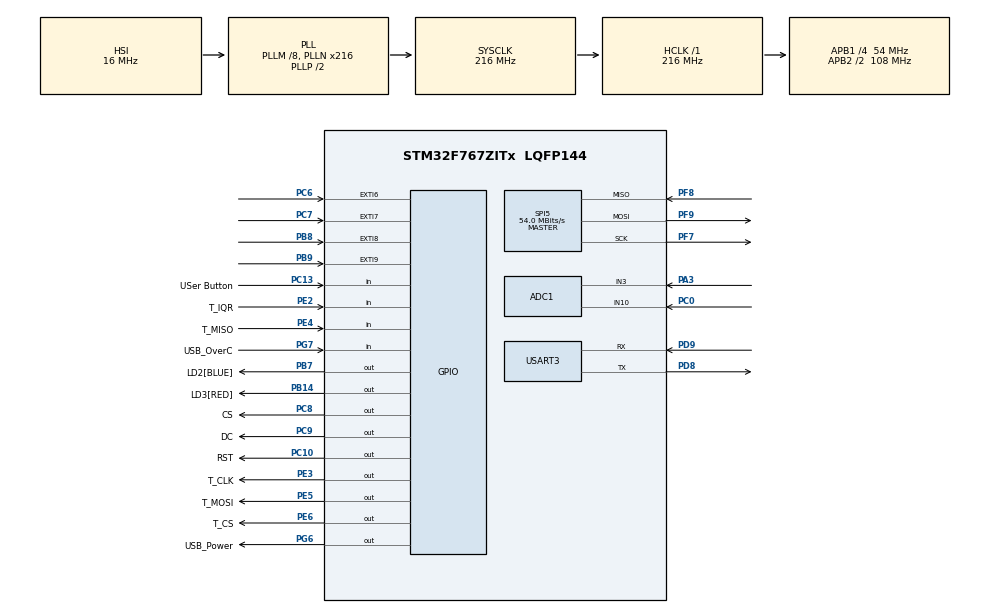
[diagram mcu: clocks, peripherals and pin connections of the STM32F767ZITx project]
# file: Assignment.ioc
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ADC1.Channel-0\#ChannelRegularConversion=ADC_CHANNEL_3
ADC1.Channel-4\#ChannelRegularConversion=ADC_CHANNEL_10
ADC1.ClockPrescaler=ADC_CLOCK_SYNC_PCLK_DIV8
ADC1.ContinuousConvMode=DISABLE
ADC1.NbrOfConversion=2
ADC1.NbrOfConversionFlag=1
ADC1.Rank-4\#ChannelRegularConversion=2
ADC1.SamplingTime-0\#ChannelRegularConversion=ADC_SAMPLETIME_15CYCLES
ADC1.SamplingTime-4\#ChannelRegularConversion=ADC_SAMPLETIME_15CYCLES
ADC1.master=1
CORTEX_M7.ART_ACCELERATOR_ENABLE=1
CORTEX_M7.CPU_DCache=Enabled
CORTEX_M7.CPU_ICache=Enabled
CORTEX_M7.MPU_Control=__NULL
CORTEX_M7.PREFETCH_ENABLE=1
Mcu.Family=STM32F7
Mcu.Name=STM32F767ZITx
Mcu.Package=LQFP144
NVIC.EXTI9_5_IRQn=true\:1\:0\:true\:false\:true\:true\:true\:true
NVIC.PriorityGroup=NVIC_PRIORITYGROUP_1
PA13.Mode=Serial_Wire
PA13.Signal=SYS_JTMS-SWDIO
PA14.Mode=Serial_Wire
PA14.Signal=SYS_JTCK-SWCLK
PA3.Signal=ADCx_IN3
PB14.GPIO_Label=LD3[RED]
PB14.Signal=GPIO_Output
PB7.GPIO_Label=LD2[BLUE]
PB7.Signal=GPIO_Output
PB8.GPIO_ModeDefaultEXTI=GPIO_MODE_IT_FALLING
PB8.Signal=GPXTI8
PB9.GPIO_ModeDefaultEXTI=GPIO_MODE_IT_FALLING
PB9.Signal=GPXTI9
PC0.Signal=ADCx_IN10
PC10.GPIO_Label=RST
PC10.GPIO_Speed=GPIO_SPEED_FREQ_VERY_HIGH
PC10.Signal=GPIO_Output
PC13.GPIO_Label=USer Button
PC13.Signal=GPIO_Input
PC6.GPIO_ModeDefaultEXTI=GPIO_MODE_IT_FALLING
PC6.GPIO_PuPd=GPIO_NOPULL
PC6.Signal=GPXTI6
PC7.GPIO_ModeDefaultEXTI=GPIO_MODE_IT_FALLING
PC7.Signal=GPXTI7
PC8.GPIO_Label=CS
PC8.GPIO_Speed=GPIO_SPEED_FREQ_VERY_HIGH
PC8.Signal=GPIO_Output
PC9.GPIO_Label=DC
PC9.GPIO_Speed=GPIO_SPEED_FREQ_VERY_HIGH
PC9.Signal=GPIO_Output
PD8.Mode=Asynchronous
PD8.Signal=USART3_TX
PD9.Mode=Asynchronous
PD9.Signal=USART3_RX
PE2.GPIO_Label=T_IQR
PE2.Signal=GPIO_Input
PE3.GPIO_Label=T_CLK
PE3.GPIO_Speed=GPIO_SPEED_FREQ_VERY_HIGH
PE3.Signal=GPIO_Output
PE4.GPIO_Label=T_MISO
PE4.Signal=GPIO_Input
PE5.GPIO_Label=T_MOSI
PE5.GPIO_Speed=GPIO_SPEED_FREQ_VERY_HIGH
PE5.Signal=GPIO_Output
PE6.GPIO_Label=T_CS
PE6.GPIO_Speed=GPIO_SPEED_FREQ_VERY_HIGH
PE6.Signal=GPIO_Output
PF7.Mode=Full_Duplex_Master
PF7.Signal=SPI5_SCK
PF8.Mode=Full_Duplex_Master
PF8.Signal=SPI5_MISO
PF9.Mode=Full_Duplex_Master
PF9.Signal=SPI5_MOSI
PG6.GPIO_Label=USB_Power
PG6.Signal=GPIO_Output
PG7.GPIO_Label=USB_OverC
PG7.Signal=GPIO_Input
PH0/OSC_IN.Mode=HSE-External-Oscillator
PH0/OSC_IN.Signal=RCC_OSC_IN
PH1/OSC_OUT.Mode=HSE-External-Oscillator
PH1/OSC_OUT.Signal=RCC_OSC_OUT
ProjectManager.HeapSize=0x200
ProjectManager.StackSize=0x400
ProjectManager.TargetToolchain=STM32CubeIDE
RCC.AHBFreq_Value=216000000
RCC.APB1CLKDivider=RCC_HCLK_DIV4
RCC.APB1Freq_Value=54000000
RCC.APB1TimFreq_Value=108000000
RCC.APB2CLKDivider=RCC_HCLK_DIV2
RCC.APB2Freq_Value=108000000
RCC.APB2TimFreq_Value=216000000
RCC.CortexFreq_Value=216000000
RCC.HCLKFreq_Value=216000000
RCC.HSE_VALUE=25000000
RCC.HSI_VALUE=16000000
RCC.LSE_VALUE=32768
RCC.PLLM=8
RCC.PLLN=216
RCC.PLLQ=9
RCC.SYSCLKFreq_VALUE=216000000
RCC.SYSCLKSource=RCC_SYSCLKSOURCE_PLLCLK
RCC.USBFreq_Value=48000000
RCC.VCOOutputFreq_Value=432000000
SH.ADCx_IN10.0=ADC1_IN10,IN10
SH.ADCx_IN3.0=ADC1_IN3,IN3
SPI5.BaudRatePrescaler=SPI_BAUDRATEPRESCALER_2
SPI5.CalculateBaudRate=54.0 MBits/s
SPI5.DataSize=SPI_DATASIZE_8BIT
SPI5.Direction=SPI_DIRECTION_2LINES
SPI5.Mode=SPI_MODE_MASTER
SPI5.NSSPMode=SPI_NSS_PULSE_DISABLE
SPI5.VirtualType=VM_MASTER
TIM1.ClockDivision=TIM_CLOCKDIVISION_DIV2
TIM1.Period=0
TIM1.Prescaler=10000
USART3.VirtualMode-Asynchronous=VM_ASYNC
VP_RNG_VS_RNG.Mode=RNG_Activate
VP_TIM1_VS_ClockSourceINT.Mode=Internal
board=custom

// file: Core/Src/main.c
/* USER CODE BEGIN Header */
/**
 ******************************************************************************
 * @file           : main.c
 * @brief          : Main program body
 ******************************************************************************
 * @attention
 *
 * Copyright (c) 2023 STMicroelectronics.
 * All rights reserved.
 *
 * This software is licensed under terms that can be found in the LICENSE file
 * in the root directory of this software component.
 * If no LICENSE file comes with this software, it is provided AS-IS.
 *
 ******************************************************************************
 */
/* USER CODE END Header */
#include "main.h"
#include "adc.h"
#include "rng.h"
#include "spi.h"
#include "tim.h"
#include "usart.h"
#include "gpio.h"

/* USER CODE BEGIN Includes */
#include "ILI9341_Touchscreen.h"
#include "ILI9341_STM32_Driver.h"
#include "ILI9341_GFX.h"
#include "ILI9341_Sprite.h"
#include "snow_tiger.h"
#include "string.h"
#include "stdbool.h"
#include "stdio.h"
#include "math.h"
/* USER CODE END Includes */

/* USER CODE BEGIN PD */
#define TILE_NEW_HEIGHT 56
#define TILE_NEW_WIDTH 38
/* USER CODE END PD */

/* USER CODE BEGIN PV */
// array size is 4256
const uint16_t tile_new[] = {
    0xef5d, 0xef5d, 0xef5d, 0xef5d, 0xef5d, 0xef5d, 0xef5d, 0xef5d, 0xef5d, 0xef5d, 0xef5d, 0xef5d, 0xef5d, 0xe75d, 0xe71c, 0xe73c, 0xe71c, 0x9cb2, 0x83ee, 0x8c50, 0x8c4f, 0x8c2f, 0x8c50, 0x9c91, 0xce59, 0xe75d, 0xef5d, 0xef5d, 0xef5d, 0xef5d, 0xef5d, 0xef5d, 0xef5d, 0xef5d, 0xef5d, 0xef5d, 0xef5d, 0xef5d,
    0xef5d, 0xef5d, 0xef5d, 0xef5d, 0xef5d, 0xef5d, 0xef5d, 0xef5d, 0xef5d, 0xef5d, 0xe75d, 0xe75d, 0xe73d, 0xce79, 0x9471, 0xacf3, 0xbd95, 0xa4d2, 0xacd1, 0xad11, 0xad11, 0xb532, 0xbdb6, 0xbdd6, 0xad34, 0xd69a, 0xef5d, 0xef5d, 0xef5d, 0xef5d, 0xef5d, 0xef5d, 0xef5d, 0xef5d, 0xef5d, 0xef5d, 0xef5d, 0xef5d,
    0xef5d, 0xef5d, 0xef5d, 0xef5d, 0xef5d, 0xef5d, 0xef5d, 0xef5d, 0xef5d, 0xef5d, 0xa514, 0x8c30, 0x8c10, 0x8c10, 0x942f, 0xad10, 0xbd31, 0xbd52, 0xbd72, 0xc591, 0xbd91, 0xc592, 0xc5d4, 0xc5b4, 0x9450, 0xce38, 0xef5d, 0xef5d, 0xef5d, 0xef5d, 0xef5d, 0xef5d, 0xef5d, 0xe75d, 0xe75d, 0xe75d, 0xef5d, 0xef5d,
    0xef5d, 0xef5d, 0xef5d, 0xef5d, 0xef5d, 0xef5d, 0xef5d, 0xef5d, 0xbdf7, 0xbd96, 0x630c, 0x4a28, 0x5a48, 0x8bcd, 0xad11, 0xbd71, 0xacef, 0xb530, 0xc5d4, 0xce16, 0xc5d4, 0xc592, 0xc591, 0xbd51, 0x8c0e, 0xc618, 0xef5d, 0xdedb, 0xad55, 0xad54, 0xbd95, 0xbd95, 0xbdb5, 0xbdb5, 0xce58, 0xe73d, 0xef5d, 0xef5d,
    0xef5d, 0xef5d, 0xef5d, 0xef5d, 0xef5d, 0xe71c, 0xd69a, 0xce58, 0x9cb1, 0x9cb2, 0x7bae, 0x5289, 0x4a06, 0x9c6e, 0xbd51, 0xbd71, 0x83ac, 0xa48e, 0xcdf5, 0xce38, 0xce16, 0xc592, 0xc591, 0xb531, 0x736b, 0xa4f3, 0xce38, 0xbdb5, 0x8bee, 0x940e, 0xa48e, 0xa4d1, 0xad12, 0xa4b0, 0xbd94, 0xe73d, 0xef5d, 0xef5d,
    0xef5d, 0xef5d, 0xef5d, 0xef5d, 0xdefb, 0xbdd6, 0xad13, 0x9c90, 0xad12, 0xc5d5, 0xce79, 0x8c51, 0x39a4, 0x8bec, 0xacef, 0xaccf, 0x5227, 0x8bec, 0xbd71, 0xc5d4, 0xc5f6, 0xb510, 0xb510, 0xa4af, 0x4a06, 0x62a9, 0x942e, 0xa48f, 0xacf0, 0xbd71, 0xc591, 0xce16, 0xce59, 0xb533, 0xbd95, 0xe75d, 0xef5d, 0xef5d,
    0xef5d, 0xef5d, 0xef5d, 0xdefc, 0xbdd6, 0x9470, 0xad32, 0xbd51, 0xbd71, 0xbd52, 0xce16, 0x8c50, 0x2944, 0x6ac9, 0x8bcc, 0x8bcc, 0x5207, 0x838b, 0xaccf, 0xad11, 0xa4f2, 0x8bec, 0x8bec, 0x838b, 0x3984, 0x6ae9, 0xaccf, 0xbd71, 0xbd71, 0xbd91, 0xc591, 0xc592, 0xbdd5, 0x9cb1, 0xb554, 0xe75d, 0xef5d, 0xef5d,
    0xef5d, 0xef5d, 0xef5d, 0xa514, 0x8c30, 0xbd53, 0xc572, 0xc591, 0xbd51, 0xa48e, 0xb510, 0x7bac, 0x20e3, 0x4185, 0x5a48, 0x5a88, 0x5a68, 0x41a6, 0x3944, 0x3144, 0x49a6, 0x6268, 0x6288, 0x5a48, 0x2923, 0x6ae9, 0xacf0, 0xbd71, 0xbd71, 0xc591, 0xc591, 0xbd51, 0x838b, 0x3985, 0x736d, 0xe73d, 0xef5d, 0xef5d,
    0xef5d, 0xe75d, 0xe71c, 0x9cb2, 0x8c0e, 0xbd72, 0xbd71, 0xbd71, 0x8bec, 0x5247, 0x3164, 0x2943, 0x18e2, 0x2103, 0x2923, 0x2123, 0x4a07, 0x6ae9, 0x942d, 0x9c6e, 0xa48f, 0xacd0, 0xacf0, 0x8bcc, 0x62c9, 0x41c6, 0x39a5, 0x41e6, 0x7b2a, 0x8bec, 0x940d, 0x8bcc, 0x4a06, 0x8b04, 0xcd4e, 0xe73d, 0xe75d, 0xef5d,
    0xef5d, 0xe73c, 0xb596, 0xa4d2, 0xad12, 0xc571, 0xbd51, 0xa48e, 0x5247, 0x2943, 0x2123, 0x2964, 0x39e4, 0x5307, 0x52e7, 0x2963, 0x2944, 0x39a4, 0x4a26, 0x5247, 0x62c9, 0x83ac, 0x9c6e, 0xacf0, 0xa48f, 0x8c0d, 0x734a, 0x5a88, 0x3184, 0x41c5, 0x5227, 0x5207, 0x2923, 0x49c3, 0x944e, 0xe73d, 0xe75d, 0xef5d,
    0xe75d, 0xe71c, 0x9c92, 0xa4b1, 0xc592, 0xc591, 0xb530, 0x940d, 0x2923, 0x2943, 0x5b08, 0x73e9, 0x94ee, 0xbdf5, 0xb5d4, 0x6368, 0x2963, 0x5227, 0x8bed, 0x944e, 0x6b0a, 0x2943, 0x3184, 0x41e5, 0x41e5, 0x6ac9, 0x83ac, 0x940d, 0x944e, 0x944e, 0x9c4e, 0x5a68, 0x2924, 0x2103, 0x6b8d, 0xe73d, 0xe75d, 0xe75d,
    0xe73c, 0xc638, 0xa4f2, 0xb553, 0xc5d5, 0xc5d5, 0xb553, 0x62c9, 0x2943, 0x31c4, 0x7409, 0x952e, 0xbe14, 0xd69a, 0xce79, 0x94cf, 0x4206, 0x4a26, 0x7b8b, 0x83cc, 0x732a, 0x4a06, 0x5267, 0x5287, 0x5287, 0x4a06, 0x5a68, 0x6b09, 0x8bed, 0x9c4e, 0xacef, 0x83cc, 0x6b2b, 0x630b, 0x94b3, 0xdf1d, 0xe73d, 0xe75d,
    0xdefb, 0x8c30, 0xa4d1, 0xc5d5, 0xce37, 0xce58, 0xb595, 0x2123, 0x4225, 0x5b07, 0x94ec, 0xadb0, 0xc637, 0xd679, 0xce79, 0xbdf4, 0x636a, 0x31a4, 0x18c2, 0x20c2, 0x5207, 0x838c, 0x9c4e, 0x9c6e, 0x9c6e, 0x62a8, 0x4a47, 0x5288, 0x5269, 0x49e6, 0x62c8, 0x944e, 0xbd94, 0xce37, 0xce7a, 0xcefd, 0xe73d, 0xe75d,
    0xdefb, 0x7bae, 0x8c0e, 0xb531, 0xbd72, 0xc5b4, 0xb573, 0x39c5, 0x52a6, 0x6368, 0x848b, 0x94ec, 0xa56f, 0xbdf5, 0xbdf5, 0x8ccc, 0x73c9, 0x4a66, 0x2102, 0x20c2, 0x41a6, 0x5a68, 0x5a68, 0x5a48, 0x5a48, 0x734b, 0x9c6f, 0xacf2, 0x8c50, 0x4a48, 0x18c2, 0x5a68, 0x942e, 0xacf0, 0xb595, 0xcedd, 0xe73d, 0xe75d,
    0xdefb, 0x8c50, 0xbdb6, 0xc5d5, 0xb530, 0xb531, 0x9caf, 0x39c5, 0x39e5, 0x52a6, 0x6347, 0x6ba8, 0x846a, 0x846b, 0x846b, 0x6347, 0x4245, 0x39c5, 0x18e2, 0x20c2, 0x49a6, 0x5a68, 0x4a08, 0x4a28, 0x4a28, 0x62ec, 0x6b2d, 0x6b0c, 0x83ee, 0xad54, 0x18c2, 0x5247, 0x7b8b, 0x7b2b, 0x8c51, 0xc6dd, 0xe73d, 0xe75d,
    0xe73d, 0xe71c, 0xbdd7, 0x5aaa, 0x2102, 0x18e2, 0x2102, 0x39c5, 0x52e7, 0x6ba8, 0x950c, 0x9d6c, 0x9d6c, 0x9d6d, 0x9d4c, 0x9d2c, 0x7c2a, 0x4a86, 0x2103, 0x20e3, 0x41a6, 0x5248, 0x41e7, 0x83f0, 0x8410, 0xb596, 0x736e, 0x4a07, 0x6b0a, 0x7b8c, 0x18c2, 0x5228, 0x6289, 0x5228, 0x73b0, 0xb65c, 0xc69c, 0xdf1d,
    0xe73d, 0xe71c, 0xb596, 0x8c71, 0x736c, 0x4a06, 0x4a07, 0x5248, 0x4206, 0x52c6, 0x740a, 0x846a, 0x848a, 0x848a, 0x846a, 0x6388, 0x4aa6, 0x3184, 0x3185, 0x39a6, 0x49e7, 0x41e7, 0x2123, 0x7baf, 0x83d0, 0x9452, 0x5269, 0x3986, 0x6b0c, 0x6b2c, 0x39a6, 0x62ab, 0x62ec, 0x6b2d, 0x83f0, 0x9cf4, 0xa536, 0xcedc,
    0xe73d, 0xe73c, 0xd6ba, 0xb575, 0x840f, 0x6288, 0x6289, 0x6289, 0x3965, 0x39c5, 0x4246, 0x52c6, 0x6347, 0x6347, 0x6347, 0x3a05, 0x39c5, 0x39a5, 0x41e7, 0x4a29, 0x5aab, 0x5249, 0x18c2, 0x31a6, 0x4a49, 0x5a8a, 0x526a, 0x5aab, 0x7baf, 0x7baf, 0x5acb, 0x7b8f, 0x7bcf, 0xa514, 0xbdd7, 0xad55, 0x9cd4, 0xc69c,
    0xe73c, 0xe73c, 0xe73d, 0xbdd7, 0xa513, 0xa4b1, 0x8bcc, 0x83ac, 0x5a47, 0x3164, 0x18e2, 0x18e2, 0x2963, 0x39e5, 0x39e4, 0x18e2, 0x18e2, 0x20e2, 0x20e3, 0x2103, 0x2123, 0x2103, 0x18c2, 0x18c2, 0x39a6, 0x5a8a, 0x736e, 0x83d0, 0x7baf, 0x6b2d, 0x4a29, 0x630c, 0x6b2d, 0x736e, 0x7baf, 0x738e, 0x8c31, 0xcebb,
    0xe73d, 0xe73d, 0xe73d, 0xce59, 0xbdd6, 0xad53, 0x9c6f, 0x942d, 0x5a68, 0x3985, 0x20e3, 0x3164, 0x5aa8, 0x5aea, 0x39a5, 0x3186, 0x3186, 0x3186, 0x3185, 0x3185, 0x39a6, 0x4208, 0x52aa, 0x20e3, 0x41e7, 0x630c, 0x7bd0, 0x8410, 0x7bb0, 0x734e, 0x526a, 0x6b4d, 0x736e, 0x83f0, 0x8c31, 0x83f0, 0x8431, 0xcebb,
    0xe73d, 0xe73d, 0xe73d, 0xe73d, 0xdedb, 0xb596, 0x9490, 0x8c2f, 0x41e7, 0x4a28, 0x3986, 0x6288, 0xb531, 0xa4f2, 0x5248, 0x62ab, 0x62cb, 0x62cb, 0x62ab, 0x62cb, 0x6aec, 0x736d, 0x83ef, 0x6b6d, 0x4a49, 0x4a29, 0x5269, 0x5aab, 0x6b2d, 0x5aaa, 0x526a, 0x62eb, 0x62ec, 0x7bae, 0x840f, 0x7bce, 0x8c51, 0xd6db,
    0xe73d, 0xe73d, 0xe73d, 0xe73d, 0xe73d, 0xc638, 0x9471, 0x9471, 0x39c6, 0x528a, 0x49e8, 0x5a48, 0x942e, 0xad12, 0x7b6d, 0x734c, 0x732c, 0x62ca, 0x6aea, 0x732a, 0x6aeb, 0x5a48, 0x4185, 0x9cd2, 0x4207, 0x18e2, 0x2103, 0x3186, 0x5aab, 0x41e7, 0x52aa, 0x5aca, 0x52aa, 0x52a9, 0x5289, 0x5aeb, 0x94b2, 0xdefb,
    0xe73c, 0xe73c, 0xe73c, 0xe73c, 0xe73c, 0xe73c, 0xe73c, 0xe73c, 0x52aa, 0x736d, 0x734e, 0x526a, 0x6aeb, 0xce79, 0xce79, 0xce79, 0xce59, 0x8bef, 0xa48f, 0xbdb4, 0xa4f3, 0x6289, 0x6268, 0x3124, 0x20c2, 0x39c6, 0x5269, 0x62eb, 0x8c51, 0x9cb3, 0xe73c, 0xe73c, 0xe73c, 0xe73c, 0xe73c, 0xe73c, 0xe73c, 0xe73c,
    0xe73c, 0xe73d, 0xe73c, 0xe73c, 0xe73c, 0xe73c, 0xe73c, 0xe73c, 0xdedb, 0x738d, 0x6b2d, 0x732d, 0x6ae9, 0x9c6e, 0xbd71, 0xbd91, 0xbd72, 0x838c, 0x7b4b, 0x940c, 0x8bed, 0x5207, 0x3124, 0x18c2, 0x2944, 0xa535, 0x9cb3, 0x7bef, 0xad35, 0xad55, 0xe73c, 0xe73c, 0xe73c, 0xe73c, 0xe73c, 0xe73c, 0xe73c, 0xe73c,
    0xe73d, 0xef5d, 0xe75d, 0xe73c, 0xe73c, 0xe73c, 0xe73c, 0xe73c, 0xdedb, 0x73ae, 0x5269, 0x5249, 0x5a48, 0x9c4e, 0xbd51, 0xbd71, 0xbd71, 0x838c, 0x5207, 0x5207, 0x49e6, 0x2923, 0x20e2, 0x2123, 0x8430, 0xce9a, 0xa4f3, 0x840f, 0x9cd3, 0xa4f3, 0xe73c, 0xe73c, 0xe73c, 0xe73c, 0xe73c, 0xe73c, 0xe73c, 0xe73c,
    0xef9d, 0xf79e, 0xef9e, 0xef5d, 0xe73c, 0xe73c, 0xe73c, 0xe73c, 0xe71c, 0xce7a, 0x5289, 0x3145, 0x3945, 0x41c6, 0x49e6, 0x51e7, 0x49e7, 0x41a6, 0x5207, 0x5a48, 0x5a48, 0x5a68, 0x7b6a, 0x3165, 0xad55, 0xdf1c, 0xd6db, 0xd6ba, 0xd6ba, 0xdedb, 0xe73c, 0xe73d, 0xe73d, 0xe73d, 0xe73c, 0xe73c, 0xe73c, 0xe73c,
    0xf79e, 0xf79e, 0xf79e, 0xef7d, 0xef5d, 0xe73c, 0xe73c, 0xe73c, 0xe73c, 0xdf1c, 0x52aa, 0x2123, 0x20e3, 0x20e3, 0x20e3, 0x20e3, 0x20e3, 0x20e3, 0x2924, 0x3164, 0x3164, 0x3184, 0x41e5, 0x2103, 0x5289, 0x6b6d, 0x73ae, 0x94b2, 0xce79, 0xa554, 0xad75, 0xa534, 0x9d13, 0x9cf2, 0xb5b6, 0xe73c, 0xe73c, 0xe73c,
    0xf79e, 0xf79e, 0xf79e, 0xf79e, 0xef7e, 0xe73d, 0xe73c, 0xe73c, 0xdefc, 0xb5b6, 0x4207, 0x18e3, 0x18a2, 0x18e2, 0x3144, 0x3164, 0x3164, 0x3164, 0x3164, 0x3164, 0x3144, 0x3984, 0x41e5, 0x41c5, 0x2123, 0x2103, 0x2965, 0x5289, 0x9d12, 0x846e, 0x94b0, 0x94af, 0x8c8e, 0x842d, 0x9cf1, 0xce79, 0xe71c, 0xe73c,
    0xf79e, 0xf79e, 0xf79e, 0xf79e, 0xf79e, 0xef5d, 0xd6db, 0xa534, 0x8c91, 0x632b, 0x2123, 0x18c2, 0x2103, 0x39a5, 0x49c6, 0x49e6, 0x49e6, 0x49e6, 0x49e6, 0x49c7, 0x41c6, 0x41c6, 0x5247, 0x62c8, 0x4a87, 0x4a66, 0x4a87, 0x52e8, 0x6349, 0x52e8, 0x5b09, 0x6348, 0x6348, 0x8cad, 0x9d51, 0xa554, 0xc618, 0xe71c,
    0xf79e, 0xf79e, 0xf79e, 0xf79e, 0xf79e, 0xef5d, 0xce79, 0x6b6c, 0x4a47, 0x52c8, 0x2943, 0x18a1, 0x3144, 0x5207, 0x3965, 0x3945, 0x3945, 0x3945, 0x3945, 0x3944, 0x2923, 0x18c1, 0x18e1, 0x3a04, 0x6388, 0x740a, 0x740a, 0x740a, 0x5ae7, 0x2102, 0x18c2, 0x18c2, 0x18c2, 0x73c9, 0xadb0, 0xadb3, 0xad54, 0xdefb,
    0xf79e, 0xf79e, 0xf79e, 0xf79e, 0xf79e, 0xdedb, 0xa553, 0x6349, 0x52a6, 0x2983, 0x3144, 0x2924, 0x2943, 0x4a07, 0x3945, 0x3945, 0x3945, 0x3945, 0x3124, 0x3164, 0x52a6, 0x6bc9, 0x6ba8, 0x6368, 0x39e5, 0x2944, 0x3185, 0x31a5, 0x39c6, 0x41e7, 0x18c2, 0x9c8f, 0xc5f6, 0x5aaa, 0x4aa6, 0x9d4e, 0xad95, 0xdefb,
    0xf79e, 0xf79e, 0xf79e, 0xf79e, 0xf79e, 0xad55, 0x2985, 0x18e2, 0x18e2, 0x18c2, 0x4a06, 0x41c6, 0x20e3, 0x3144, 0x3144, 0x3144, 0x3145, 0x3945, 0x20c3, 0x31a3, 0x5b27, 0x31c4, 0x2122, 0x2123, 0x6b09, 0xa4cf, 0xbdb5, 0xc617, 0xc617, 0xbdb6, 0x18c2, 0x7b6b, 0xacd0, 0x5268, 0x4a86, 0xa56f, 0xbdd6, 0xdefc,
    0xf79e, 0xf79e, 0xf79e, 0xf79e, 0xf79e, 0xa534, 0x2123, 0x18c2, 0x18c2, 0x18c2, 0x4a07, 0x41c6, 0x18c2, 0x20e2, 0x20e2, 0x20e3, 0x3124, 0x3945, 0x20c2, 0x31a3, 0x5307, 0x3184, 0x6b09, 0x2943, 0x8bec, 0xbd51, 0xc5b3, 0xc5d3, 0xc5d3, 0xbd72, 0x2924, 0x3184, 0x39c5, 0x31a4, 0x4aa7, 0x8ccd, 0xb5d6, 0xdefc,
    0xf79e, 0xf79e, 0xf79e, 0xf79e, 0xef9e, 0xa534, 0x2124, 0x18a2, 0x18c2, 0x18c2, 0x4a07, 0x41c6, 0x10c2, 0x18c2, 0x18c2, 0x18c2, 0x18c2, 0x18a2, 0x18a2, 0x31a3, 0x52e6, 0x18c2, 0x2102, 0x4185, 0x9c4e, 0xc591, 0xc591, 0xc591, 0xbd91, 0xbd92, 0xbdd7, 0x4a08, 0x20e3, 0x52c7, 0x846d, 0xad73, 0xbe17, 0xdefc,
    0xef9e, 0xef9e, 0xef9e, 0xef9e, 0xef9e, 0xb5b6, 0x4a69, 0x18c2, 0x18c2, 0x18c2, 0x3164, 0x3144, 0x10c2, 0x18c2, 0x18c2, 0x18c2, 0x10c2, 0x18c2, 0x18a2, 0x2963, 0x4a85, 0x18c1, 0x10a2, 0x5207, 0xa48e, 0xc591, 0xc591, 0xc591, 0xc571, 0xc572, 0xc5f5, 0x4a07, 0x20e3, 0x5307, 0x846d, 0xa554, 0xce79, 0xdf1c,
    0xef9e, 0xef9e, 0xef9e, 0xef9e, 0xef9e, 0xd69a, 0x8c30, 0x18c2, 0x18c2, 0x18c2, 0x18c2, 0x18c2, 0x18c2, 0x18c2, 0x18c2, 0x18c2, 0x18c2, 0x18c2, 0x18c2, 0x2102, 0x3a04, 0x39e4, 0x18c2, 0x7b4b, 0xacd0, 0xc591, 0xc591, 0xc591, 0xc591, 0xbd71, 0xa4af, 0x39a5, 0x2123, 0x5b29, 0x844d, 0xa534, 0xdefb, 0xe71c,
    0xef9e, 0xef9e, 0xef9e, 0xef9e, 0xef9e, 0xd6ba, 0x9471, 0x18c2, 0x18c2, 0x18c2, 0x18c2, 0x18c2, 0x18c2, 0x18c2, 0x18c2, 0x18c2, 0x18c2, 0x18c2, 0x31a4, 0x31a4, 0x3a05, 0x5b48, 0x18e2, 0x8bec, 0xb510, 0xc591, 0xc591, 0xc591, 0xc572, 0xbd51, 0x72e9, 0x2943, 0x39e5, 0x6b8b, 0x8c90, 0xbdf7, 0xdefc, 0xe71c,
    0xef9e, 0xef9e, 0xef9e, 0xef9e, 0xef9e, 0xd6ba, 0x8c71, 0x18c2, 0x18c2, 0x18c2, 0x18c2, 0x18c2, 0x18c2, 0x18c2, 0x18c2, 0x18c2, 0x18c2, 0x18a2, 0x5b28, 0x5b28, 0x3a05, 0x6368, 0x18e2, 0x8bec, 0xb510, 0xc591, 0xc591, 0xc591, 0xbd71, 0xb511, 0x3144, 0x2103, 0x5307, 0x73ab, 0x9cd2, 0xe71c, 0xe71c, 0xe71c,
    0xef9e, 0xef9e, 0xef9e, 0xef9e, 0xef9e, 0xd6ba, 0x9491, 0x18c2, 0x18c2, 0x18c2, 0x18c2, 0x18c2, 0x18c2, 0x18c2, 0x18c2, 0x18c2, 0x18c1, 0x2123, 0x4225, 0x3a04, 0x3a05, 0x6368, 0x18e2, 0x83ab, 0xa4cf, 0xb530, 0xb530, 0xb530, 0xa48e, 0x7b8b, 0x18c2, 0x4205, 0x634a, 0x842f, 0xad75, 0xe71c, 0xe71c, 0xe71c,
    0xef9e, 0xef9e, 0xef9e, 0xef9e, 0xef9e, 0xd6ba, 0x9491, 0x18e2, 0x18c2, 0x18c2, 0x18c2, 0x18c2, 0x18c2, 0x18c2, 0x18c2, 0x18c2, 0x18c1, 0x4a86, 0x31c3, 0x18e2, 0x3a05, 0x6348, 0x18e2, 0x62a9, 0x8bcc, 0x942d, 0x942d, 0x942d, 0x838b, 0x5a88, 0x18c2, 0x6348, 0x634a, 0xad74, 0xdedb, 0xe71c, 0xe71c, 0xe71c,
    0xef9e, 0xef9e, 0xef9e, 0xef9e, 0xef9e, 0xdedb, 0xad55, 0x7bce, 0x18e2, 0x18c2, 0x18c2, 0x18c2, 0x18c2, 0x18c2, 0x18c2, 0x18c2, 0x18c2, 0x4245, 0x31a4, 0x2103, 0x3a05, 0x5ae7, 0x31a4, 0x6289, 0x838b, 0x940c, 0x940c, 0x940c, 0x6ae9, 0x2923, 0x31a4, 0x6b8a, 0x6b6b, 0xb5b6, 0xe71c, 0xe71c, 0xe71c, 0xe71c,
    0xef7e, 0xef7e, 0xef7e, 0xef7e, 0xef7e, 0xef5d, 0xdedb, 0xa534, 0x2103, 0x18a2, 0x18c2, 0x18c2, 0x18c2, 0x18c2, 0x18c2, 0x18e2, 0x4a66, 0x4226, 0x9cd2, 0xbdf7, 0x8c70, 0x4246, 0x73c9, 0x3164, 0x732a, 0x940c, 0x940c, 0x83ac, 0x4a06, 0x2122, 0x6bc9, 0x634a, 0xa533, 0xd6db, 0xdf1c, 0xdf1c, 0xe71c, 0xe73c,
    0xef7e, 0xef7e, 0xef7e, 0xef7e, 0xef7e, 0xef7e, 0xe71c, 0xb595, 0x2103, 0x18a2, 0x18c1, 0x18c1, 0x18c1, 0x18c1, 0x18c1, 0x18e2, 0x5b09, 0x5288, 0xb5b6, 0xdf1c, 0x9d13, 0x4a87, 0x7c6b, 0x2943, 0x7309, 0x940c, 0x940c, 0x7b6b, 0x3164, 0x2984, 0x740b, 0x6b6b, 0xb596, 0xdf1c, 0xdf1c, 0xdf1c, 0xe71c, 0xef5d,
    0xef7e, 0xef7e, 0xef7e, 0xef7e, 0xef7e, 0xe73d, 0xd69a, 0xbdd7, 0x2103, 0x18a2, 0x18c1, 0x18c1, 0x18c1, 0x18c1, 0x18c2, 0x52a8, 0x5b0a, 0x8c70, 0xd6ba, 0xe73d, 0xad55, 0x632a, 0x84ad, 0x2943, 0x7329, 0x940c, 0x940c, 0x732a, 0x3184, 0x52e7, 0x6b6a, 0x9cf3, 0xce79, 0xdf1c, 0xdf1c, 0xe71c, 0xef5d, 0xef7e,
    0xef7e, 0xef7e, 0xef7e, 0xef7e, 0xef7d, 0xdefb, 0xc638, 0x94b2, 0x2103, 0x18a2, 0x18c2, 0x18c2, 0x18c2, 0x18c2, 0x18e2, 0x8c6e, 0x632b, 0xb596, 0xef7e, 0xef5d, 0xad95, 0x6b8c, 0x846c, 0x2123, 0x5247, 0x6ae9, 0x6ae9, 0x5267, 0x39e5, 0x6bca, 0x5ae9, 0xc638, 0xdefc, 0xdf1c, 0xe71c, 0xe73d, 0xef7e, 0xef7e,
    0xef7e, 0xef7e, 0xef7e, 0xef7e, 0xe71c, 0xce79, 0xbdf7, 0x4228, 0x18c2, 0x18a2, 0x18c1, 0x18c1, 0x18c1, 0x18c2, 0x2123, 0x9cf2, 0x8c71, 0xc638, 0xef7d, 0xe73c, 0xbdd7, 0x7bee, 0x6349, 0x2943, 0x18c2, 0x2923, 0x20e2, 0x18e2, 0x4226, 0x73ab, 0x73ad, 0xce79, 0xdf1c, 0xe71c, 0xe73d, 0xef7e, 0xef7e, 0xef7e,
    0xef7e, 0xef7e, 0xef7e, 0xef7e, 0xd69a, 0x9471, 0x6b4c, 0x39c6, 0x18c2, 0x18a2, 0x18c2, 0x18c2, 0x18c2, 0x2123, 0x4a48, 0x8430, 0xce7a, 0xef7d, 0xdedb, 0xdedb, 0xe71c, 0xa534, 0x2143, 0x6388, 0x3183, 0x6b09, 0x5267, 0x3a05, 0x6349, 0x5b0a, 0xd6ba, 0xdefb, 0xe71c, 0xef5d, 0xef7e, 0xef7e, 0xef7e, 0xef7e,
    0xef9d, 0xef9d, 0xef9d, 0xef9d, 0xce79, 0x8c71, 0x738d, 0x2103, 0x18c2, 0x18c2, 0x18c2, 0x18a2, 0x18a2, 0x2964, 0x5aeb, 0x9cf3, 0xdefb, 0xef9d, 0xd6db, 0xd6db, 0xce59, 0x7baf, 0x18e2, 0x6ba9, 0x31a4, 0x2923, 0x52c7, 0x6b89, 0x52a8, 0x4a48, 0xdefb, 0xdf1c, 0xe75d, 0xef7d, 0xef9d, 0xef9d, 0xef9d, 0xef9d,
    0xef9d, 0xef9d, 0xef9d, 0xef9d, 0xef7d, 0xce79, 0x8c50, 0x18c2, 0x18c1, 0x18c1, 0x18c1, 0x18a2, 0x2103, 0x4207, 0x632c, 0xef5d, 0xef7d, 0xef9d, 0xd6ba, 0xc5f8, 0x9452, 0x5a8a, 0x18c2, 0x5b07, 0x6ba8, 0x73e9, 0x4aa6, 0x39e5, 0x73ad, 0xce58, 0xdefc, 0xef5d, 0xef7d, 0xef9d, 0xef9d, 0xef9d, 0xef9d, 0xef9d,
    0xef7e, 0xef7e, 0xef7e, 0xef7d, 0xce79, 0x8c70, 0x738d, 0x2924, 0x2903, 0x18e2, 0x18c2, 0x18c2, 0x2123, 0x4228, 0x630b, 0xef7d, 0xef7d, 0xef7d, 0xd6ba, 0xb5b6, 0x6b2c, 0x41a7, 0x3124, 0x2963, 0x31c4, 0x31e4, 0x4a26, 0x5a89, 0x9cd2, 0xd6ba, 0xe75d, 0xef7d, 0xef7e, 0xef7e, 0xef7e, 0xef7e, 0xef7e, 0xef7e,
    0xef7e, 0xef7e, 0xef7e, 0xef7d, 0xbdf7, 0x630b, 0x5a89, 0x3945, 0x3144, 0x2904, 0x18c2, 0x18c2, 0x2924, 0x5aaa, 0x840f, 0xa514, 0xad75, 0xd6ba, 0xce9a, 0xb595, 0x7bad, 0x83ac, 0x8c0f, 0x3124, 0x3985, 0x4a27, 0x6ae9, 0x83cd, 0xb553, 0xb575, 0xbdb6, 0xe71c, 0xef7e, 0xef7e, 0xef7e, 0xef7e, 0xef7e, 0xef7e,
    0xef7e, 0xef7e, 0xef7e, 0xef7e, 0xc618, 0x5aeb, 0x3985, 0x3945, 0x3124, 0x2904, 0x18c2, 0x18c2, 0x3965, 0x62ca, 0x7bae, 0x8430, 0x94b2, 0xce79, 0xc618, 0xa4f3, 0x8bed, 0xacf0, 0xc5f5, 0x3145, 0x5207, 0x838b, 0x838b, 0x7b6b, 0x942f, 0xad12, 0xb575, 0xb575, 0xb575, 0xb575, 0xb575, 0xb575, 0xc618, 0xef5d,
    0xef7e, 0xef7e, 0xef7e, 0xef7e, 0xc639, 0x5aea, 0x2103, 0x3124, 0x3104, 0x18e3, 0x18c2, 0x28e3, 0x4186, 0x5227, 0x4227, 0x9c71, 0xad34, 0xce79, 0xad55, 0x8c0f, 0x732a, 0x9c4e, 0xbd71, 0x2123, 0x4a07, 0x7b4b, 0x6aea, 0x5248, 0x6aea, 0xad32, 0xce38, 0x9450, 0x8bee, 0x8bee, 0x8bee, 0x83ce, 0x9cb1, 0xe73c,
    0xef7e, 0xef7e, 0xef7e, 0xef7e, 0xd69a, 0x73ad, 0x2944, 0x18a2, 0x18c2, 0x20e3, 0x3985, 0x3986, 0x3145, 0x2903, 0x18c2, 0x3124, 0x4a08, 0x738d, 0x5aeb, 0x5248, 0x6ac9, 0x942d, 0xb510, 0x3164, 0x4a07, 0x5a68, 0x5a48, 0x4a07, 0x3985, 0x6288, 0x8bcc, 0xb511, 0xbd51, 0xb551, 0xb553, 0x9491, 0x840f, 0xe71c,
    0xef7e, 0xef7e, 0xef7e, 0xef7e, 0xdedb, 0x94b2, 0x4a48, 0x2103, 0x2103, 0x31a6, 0x630b, 0x5aca, 0x3165, 0x18e3, 0x18e2, 0x20e2, 0x2103, 0x2944, 0x2944, 0x2123, 0x4a26, 0x83cc, 0x8bed, 0x4a68, 0x5aca, 0x5aca, 0x5aaa, 0x5269, 0x4207, 0x5a89, 0x6289, 0x83ac, 0x8bec, 0x8bcc, 0x62e9, 0x31a6, 0x6b6d, 0xe71c,
    0xef7e, 0xef7e, 0xef7e, 0xef7e, 0xef7d, 0xce59, 0x8c71, 0x5aeb, 0x4207, 0x39e7, 0xb5d6, 0xa513, 0x39c6, 0x39c6, 0x39c6, 0x39c6, 0x39c6, 0x39c6, 0x39e6, 0x4207, 0x4a48, 0x52a9, 0x5aa9, 0x5289, 0xb5b6, 0xdefb, 0xdefb, 0xb5b6, 0x4207, 0x4207, 0x39c6, 0x39c6, 0x39c6, 0x39a5, 0x3185, 0x5aeb, 0xd6ba, 0xef7d};
Sprite player1 = {tile_new, TILE_NEW_WIDTH, TILE_NEW_HEIGHT, 200, 200, 80};
Sprite player2 = {tile_new, TILE_NEW_WIDTH, TILE_NEW_HEIGHT, 150, 180, 80};
uint32_t adc_val1, adc_val2, adc_val3;
uint8_t reset_state = 0;
uint8_t game_state = 0;
int8_t acc_y1 = 0;
int8_t acc_y2 = 0;
int8_t acc_x = 0;
uint8_t player_xVel = 1;
uint8_t player_yVel = 1;
uint16_t MaxTime = 5;
uint16_t posX = 10;
uint16_t posY = 40;

//
//
/* USER CODE END PV */

void SystemClock_Config(void);
/* USER CODE BEGIN PFP */
void re_block(void);
bool isCrashPaddle1(void);
bool isFallPaddle1(void);
bool isCrashPaddle2(void);
bool isFallPaddle2(void);
bool isCheckCrashPaddle(void);
void block_1(void);
void block_2(void);
void block_3(void);
void gavity(void);
void Read_Controller(void);
/* USER CODE END PFP */

int main(void)
{

  /* Enable I-Cache---------------------------------------------------------*/
  SCB_EnableICache();

  /* Enable D-Cache---------------------------------------------------------*/
  SCB_EnableDCache();

  /* MCU Configuration--------------------------------------------------------*/

  /* Reset of all peripherals, Initializes the Flash interface and the Systick. */
  HAL_Init();

  /* Configure the system clock */
  SystemClock_Config();

  /* Initialize all configured peripherals */
  MX_GPIO_Init();
  MX_USART3_UART_Init();
  MX_SPI5_Init();
  MX_RNG_Init();
  MX_TIM1_Init();
  MX_ADC1_Init();
  /* USER CODE BEGIN 2 */
  ILI9341_Init(); // initial driver setup to drive ili9341
  /* USER CODE END 2 */

  /* Infinite loop */
  while (1)
  {

    /* USER CODE BEGIN 3 */
    ILI9341_Fill_Screen(WHITE);
    ILI9341_Set_Rotation(SCREEN_HORIZONTAL_1);
    block_1();
    block_2();
    block_3();
    ILI9341_Draw_Sprite(player1.bitmap, player1.width, player1.height, player1.x, player1.y);
    ILI9341_Draw_Sprite(player2.bitmap, player2.width, player2.height, player2.x, player2.y);
    game_state = 1;
    while (game_state)
    {
        HAL_ADC_Start(&hadc1);
        HAL_ADC_PollForConversion(&hadc1, 100);
        adc_val1 = HAL_ADC_GetValue(&hadc1);

        HAL_ADC_PollForConversion(&hadc1, 100);
        adc_val2 = HAL_ADC_GetValue(&hadc1);
        HAL_ADC_Stop(&hadc1);
        Read_Controller();
        gavity();
        if(isCrashPaddle1() || isCrashPaddle2()){
          re_block();
        }
        if(isCheckCrashPaddle()){
          ILI9341_Draw_Sprite(player1.bitmap, player1.width, player1.height, player1.x, player1.y);
          ILI9341_Draw_Sprite(player2.bitmap, player2.width, player2.height, player2.x, player2.y);
          block_1();
          block_2();
          block_3();
        }
      if(isFallPaddle1() && acc_y1 != 1){
        acc_y1 = -1;
      }
      if(isFallPaddle2() && acc_y2 != 1){
          acc_y2 = -1;
      }
    }
  }
  /* USER CODE END 3 */
}

void SystemClock_Config(void)
{
  RCC_OscInitTypeDef RCC_OscInitStruct = {0};
  RCC_ClkInitTypeDef RCC_ClkInitStruct = {0};

  /** Configure the main internal regulator output voltage
  */
  __HAL_RCC_PWR_CLK_ENABLE();
  __HAL_PWR_VOLTAGESCALING_CONFIG(PWR_REGULATOR_VOLTAGE_SCALE1);

  /** Initializes the RCC Oscillators according to the specified parameters
  * in the RCC_OscInitTypeDef structure.
  */
  RCC_OscInitStruct.OscillatorType = RCC_OSCILLATORTYPE_HSI;
  RCC_OscInitStruct.HSIState = RCC_HSI_ON;
  RCC_OscInitStruct.HSICalibrationValue = RCC_HSICALIBRATION_DEFAULT;
  RCC_OscInitStruct.PLL.PLLState = RCC_PLL_ON;
  RCC_OscInitStruct.PLL.PLLSource = RCC_PLLSOURCE_HSI;
  RCC_OscInitStruct.PLL.PLLM = 8;
  RCC_OscInitStruct.PLL.PLLN = 216;
  RCC_OscInitStruct.PLL.PLLP = RCC_PLLP_DIV2;
  RCC_OscInitStruct.PLL.PLLQ = 9;
  RCC_OscInitStruct.PLL.PLLR = 2;
  if (HAL_RCC_OscConfig(&RCC_OscInitStruct) != HAL_OK)
  {
    Error_Handler();
  }

  /** Activate the Over-Drive mode
  */
  if (HAL_PWREx_EnableOverDrive() != HAL_OK)
  {
    Error_Handler();
  }

  /** Initializes the CPU, AHB and APB buses clocks
  */
  RCC_ClkInitStruct.ClockType = RCC_CLOCKTYPE_HCLK|RCC_CLOCKTYPE_SYSCLK
                              |RCC_CLOCKTYPE_PCLK1|RCC_CLOCKTYPE_PCLK2;
  RCC_ClkInitStruct.SYSCLKSource = RCC_SYSCLKSOURCE_PLLCLK;
  RCC_ClkInitStruct.AHBCLKDivider = RCC_SYSCLK_DIV1;
  RCC_ClkInitStruct.APB1CLKDivider = RCC_HCLK_DIV4;
  RCC_ClkInitStruct.APB2CLKDivider = RCC_HCLK_DIV2;

  if (HAL_RCC_ClockConfig(&RCC_ClkInitStruct, FLASH_LATENCY_7) != HAL_OK)
  {
    Error_Handler();
  }
}

/* USER CODE BEGIN 4 */
void Read_Controller(void)
{
  if (adc_val1 < 1000 || adc_val1 > 3000)
  {
    ILI9341_Draw_Rectangle(player1.x, player1.y, player1.width + 1, player1.height + 1, WHITE);
    player1.x = (adc_val1 < 1000) ? player1.x += player_xVel : player1.x; // left
    player1.x = (adc_val1 > 3000) ? player1.x -= player_xVel : player1.x; // right
    ILI9341_Draw_Sprite(player1.bitmap, player1.width, player1.height, player1.x, player1.y);
  }
  if (adc_val2 < 1000 || adc_val2 > 3000)
  {
    ILI9341_Draw_Rectangle(player2.x, player2.y, player2.width + 1, player2.height + 1, WHITE);
    player2.x = (adc_val2 < 1000) ? player2.x += player_xVel : player2.x; // left
    player2.x = (adc_val2 > 3000) ? player2.x -= player_xVel : player2.x; // right
    ILI9341_Draw_Sprite(player2.bitmap, player2.width, player2.height, player2.x, player2.y);
  }
}

void HAL_GPIO_EXTI_Callback(uint16_t GPIO_Pin)
{
	if (GPIO_Pin == GPIO_PIN_9) //PB9 shoot player 1
	{
	}
	if (GPIO_Pin == GPIO_PIN_8) //PB8 shoot player 2
	{
	}
	if (GPIO_Pin == GPIO_PIN_7) //PC7 jmup player 1
	{
		acc_y1 = 1;
	}
	if (GPIO_Pin == GPIO_PIN_6) //PC6 jump playre 2
	{
		acc_y2 = 1;
	}
}

// ส่วนของตัวเกม
void re_block(void)
{
  if ((player1.y == 92) && (player1.x >= 170 && player1.x <= 320) || (player2.y == 92) && (player2.x >= 170 && player2.x <= 320))
  {
    ILI9341_Draw_Rectangle(170, 120, 150, 32, 0x9ff3);
  }
  else if ((player1.y == 92) && (player1.x >= 72 && player1.x <= 222) || (player2.y == 92) && (player2.x >= 72 && player2.x <= 222))
  {
    ILI9341_Draw_Rectangle(72, 60, 150, 32, 0x9ff3);
  }
  else if ((player1.y == 32) && (player1.x >= 0 && player1.x <= 150) || (player2.y == 32) && (player2.x >= 0 && player2.x <= 150))
  {
    ILI9341_Draw_Rectangle(0, 0, 150, 32, 0x9ff3);
  }
}

bool isCrashPaddle1(void)
{
  bool isCrashPaddle = true;
  if (((player1.y == 152) && (player1.x >= 170 && player1.x <= 320)))
  {
    return isCrashPaddle;
  }
  else if (((player1.y == 92) && (player1.x >= 72 && player1.x <= 222)))
  {
    return isCrashPaddle;
  }
  else if (((player1.y == 32) && (player1.x >= 0 && player1.x <= 150)))
  {
    return isCrashPaddle;
  }
  return !(isCrashPaddle);
}

bool isCrashPaddle2(void)
{
  bool isCrashPaddle = true;
  if (((player2.y == 152) && (player2.x >= 170 && player2.x <= 320)))
  {
    return isCrashPaddle;
  }
  else if (((player2.y == 92) && (player2.x >= 72 && player2.x <= 222)))
  {
    return isCrashPaddle;
  }
  else if (((player2.y == 32) && (player2.x >= 0 && player2.x <= 150)))
  {
    return isCrashPaddle;
  }
  return !(isCrashPaddle);
}
bool isFallPaddle1(void)
{
  if (((player1.y >= 152) && !(player1.x >= 170 && player1.x <= 320)))
  {
    return true;
  }
  else if (((player1.y >= 92) && !(player1.x >= 72 && player1.x <= 222)))
  {
    return true;
  }
  else if (((player1.y >= 32) && !(player1.x >= 0 && player1.x <= 150)))
  {
    return true;
  }
  return false;
}
bool isFallPaddle2(void)
{
  if (((player2.y >= 152) && !(player2.x >= 170 && player2.x <= 320)))
  {
    return true;
  }
  else if ((player2.y >= 92 && !(player2.x >= 72 && player2.x <= 222)))
  {
    return true;
  }
  else if (((player2.y >= 32) && !(player2.x >= 0 && player2.x <= 150)))
  {
    return true;
  }
  return false;
}
bool isCheckCrashPaddle(void)
{
  if (player1.x >= 170 && player1.x - player1.width / 2 <= 320 && player1.y != 152)
  {
    return true;
  }
  if (player1.x  >= 72 && player1.x - player1.width / 2 <= 222 && player1.y != 92)
  {
    return true;
  }
  if (player1.x  >= 0 && player1.x - player1.width / 2 <= 150 && player1.y != 32)
  {
    return true;
  }

  if (player2.x >= 170 && player2.x - player2.width / 2 <= 320 && player2.y != 152)
  {
    return true;
  }
  if (player2.x >= 72 && player2.x - player2.width / 2 <= 222 && player2.y != 92)
  {
    return true;
  }
  if (player2.x  >= 0 && player2.x - player2.width / 2 <= 150 && player2.y != 32)
  {
    return true;
  }
  return false;
}
void block_1(void)
{
  ILI9341_Draw_Rectangle(170, 120, 150, 32, 0x9ff3);
  // x_pos >=144 && x_pos<=176 && y_pos >=140 && y_pos <=290
}
void block_2(void)
{
  ILI9341_Draw_Rectangle(72, 60, 150, 32, 0x9ff3);
  // x_pos >=72 && x_pos<=222 && y_pos >=60 && y_pos <=92
}
void block_3(void)
{
  ILI9341_Draw_Rectangle(0, 0, 150, 32, 0x9ff3);
  // x_pos >=0 && x_pos<=150 && y_pos >=0 && y_pos <=32
}
void gavity()
{
	if(acc_y1 == 1){
		player1.jump--;
	    if (player1.jump <= 0)
	    {
	      player1.jump = 80;
	      acc_y1 = -1;
	    }
	    ILI9341_Draw_Rectangle(player1.x, player1.y, player1.width + player_xVel, player1.height + player_yVel, WHITE);
	    player1.y += player_yVel * acc_y1;
	    ILI9341_Draw_Sprite(player1.bitmap, player1.width, player1.height, player1.x, player1.y);
	}
	if(acc_y2 == 1){
		player2.jump--;
		if (player2.jump <= 0)
		{
			player2.jump = 80;
			acc_y2 = -1;
		}
	    ILI9341_Draw_Rectangle(player2.x, player2.y, player2.width + player_xVel, player2.height + player_yVel, WHITE);
	    player2.y += player_yVel * acc_y2;
	    ILI9341_Draw_Sprite(player2.bitmap, player2.width, player2.height, player2.x, player2.y);
	}
  if (acc_y1 == -1)
  {
    if (isCrashPaddle1())
    {
      acc_y1 = 0;
    }
    ILI9341_Draw_Rectangle(player1.x, player1.y, player1.width + player_xVel, player1.height + player_yVel, WHITE);
    player1.y += player_yVel * acc_y1;
    ILI9341_Draw_Sprite(player1.bitmap, player1.width, player1.height, player1.x, player1.y);
  }
  if (acc_y2 == -1)
  {
    if (isCrashPaddle2())
    {
      acc_y2 = 0;
    }
    ILI9341_Draw_Rectangle(player2.x, player2.y, player2.width + player_xVel, player2.height + player_yVel, WHITE);
    player2.y += player_yVel * acc_y2;
    ILI9341_Draw_Sprite(player2.bitmap, player2.width, player2.height, player2.x, player2.y);
  }
}
// ส่วนของตัวเกม

/* USER CODE END 4 */

void Error_Handler(void)
{
  __disable_irq();
  while (1)
  {
  }
}
